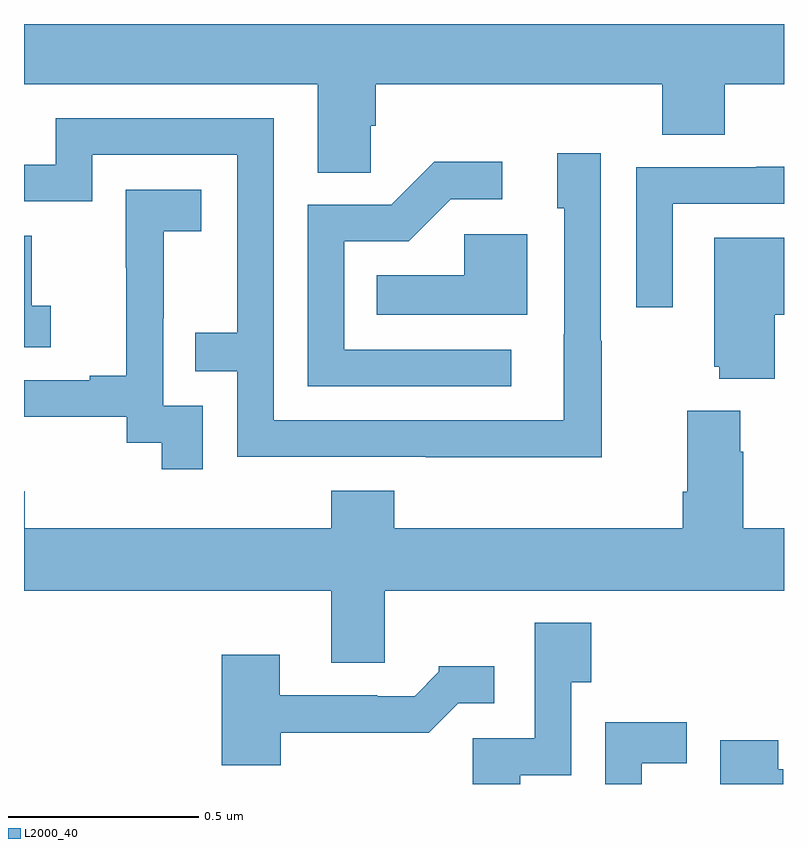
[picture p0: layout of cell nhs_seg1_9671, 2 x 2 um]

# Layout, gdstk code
import gdstk
lib = gdstk.Library(unit=1e-6, precision=1e-09)
def P(c, l, *ps):  # polygons
    for p in ps: c.add(gdstk.Polygon(p, *l))
L2000_40 = (2000, 40)

nhs_seg1_9671 = lib.new_cell('nhs_seg1_9671')
P(nhs_seg1_9671, L2000_40, [(231.912,576.931),(231.926,576.931),(231.926,577.04),(232.679,577.04),(232.679,576.907),(232.844,576.907),(232.844,577.04),(233,577.04),(233,577.199),(231,577.199),(231,577.04),(231.773,577.04),(231.773,576.808),(231.912,576.808)],
  [(232.521,576.365),(232.518,576.365),(232.518,576.859),(232.403,576.859),(232.403,576.714),(232.422,576.714),(232.422,576.383),(232.421,576.383),(232.421,576.156),(231.657,576.156),(231.657,576.951),(231.083,576.951),(231.083,576.828),(231,576.828),(231,576.732),(231.18,576.732),(231.18,576.855),(231.561,576.855),(231.561,576.386),(231.451,576.386),(231.451,576.285),(231.561,576.285),(231.561,576.06),(232.057,576.06),(232.057,576.059),(232.521,576.059)],
  [(232.282,576.342),(231.843,576.342),(231.843,576.627),(232.012,576.627),(232.123,576.738),(232.258,576.738),(232.258,576.836),(232.079,576.836),(231.966,576.723),(231.747,576.723),(231.747,576.246),(232.282,576.246)],
  [(232.707,576.726),(233,576.726),(233,576.824),(232.927,576.824),(232.927,576.822),(232.611,576.822),(232.611,576.453),(232.707,576.453)],
  [(231.471,576.195),(231.366,576.195),(231.366,576.425),(231.368,576.425),(231.368,576.653),(231.466,576.653),(231.466,576.763),(231.268,576.763),(231.268,576.557),(231.269,576.557),(231.269,576.274),(231.173,576.274),(231.173,576.261),(231,576.261),(231,576.165),(231.27,576.165),(231.27,576.097),(231.363,576.097),(231.363,576.027),(231.471,576.027)],
  [(232.324,576.646),(232.159,576.646),(232.159,576.538),(231.928,576.538),(231.928,576.434),(232.324,576.434)],
  [(231.07,576.457),(231.021,576.457),(231.021,576.642),(231,576.642),(231,576.348),(231.07,576.348)],
  [(232.975,576.434),(233,576.434),(233,576.637),(232.817,576.637),(232.817,576.297),(232.829,576.297),(232.829,576.266),(232.975,576.266)],
  [(231.949,575.708),(233,575.708),(233,575.872),(232.893,575.872),(232.893,576.074),(232.885,576.074),(232.885,576.181),(232.745,576.181),(232.745,575.968),(232.733,575.968),(232.733,575.872),(231.974,575.872),(231.974,575.971),(231.809,575.971),(231.809,575.872),(231.002,575.872),(231.002,575.97),(231,575.97),(231,575.708),(231.809,575.708),(231.809,575.518),(231.949,575.518)],
  [(232.306,575.222),(232.44,575.222),(232.44,575.467),(232.493,575.467),(232.493,575.623),(232.344,575.623),(232.344,575.319),(232.181,575.319),(232.181,575.199),(232.306,575.199)],
  [(231.676,575.334),(232.065,575.334),(232.143,575.412),(232.237,575.412),(232.237,575.509),(232.092,575.509),(232.092,575.494),(232.028,575.43),(231.929,575.43),(231.929,575.433),(231.673,575.433),(231.673,575.539),(231.521,575.539),(231.521,575.249),(231.676,575.249)],
  [(232.626,575.253),(232.744,575.253),(232.744,575.362),(232.53,575.362),(232.53,575.199),(232.626,575.199)],
  [(232.998,575.238),(232.985,575.238),(232.985,575.314),(232.832,575.314),(232.832,575.199),(232.998,575.199)])

lib.write_gds('nhs_seg1_9671.gds')
